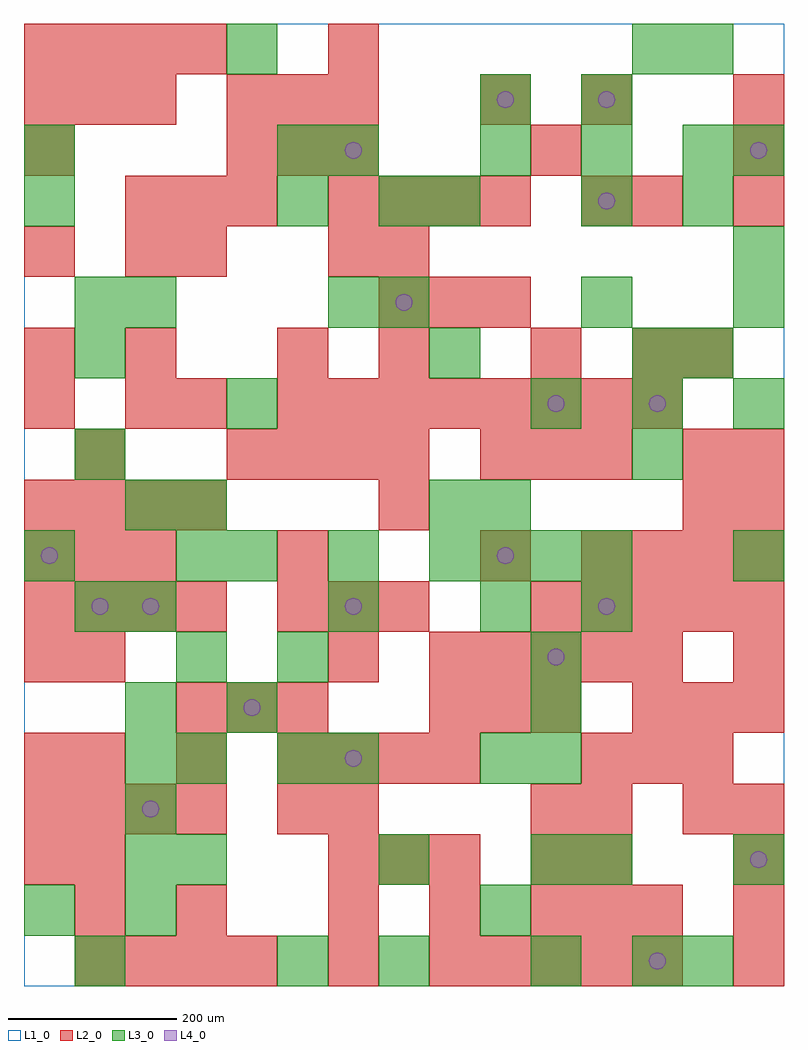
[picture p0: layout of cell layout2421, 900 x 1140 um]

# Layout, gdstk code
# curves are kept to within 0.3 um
import gdstk
lib = gdstk.Library(unit=1e-6, precision=1e-09)
def R(c, l, rs):  # rectangles x0, y0, x1, y1
    for r in rs: c.add(gdstk.rectangle(r[:2], r[2:], *l))
def A(c, l, x, y, w, h, nx, ny, dx, dy):  # array of equal rectangles
    R(c, l, [(x+i*dx, y+j*dy, x+i*dx+w, y+j*dy+h) for i in range(nx) for j in range(ny)])
def P(c, l, *ps):  # polygons
    for p in ps: c.add(gdstk.Polygon(p, *l))
L1_0 = (1, 0)
L2_0 = (2, 0)
L3_0 = (3, 0)
L4_0 = (4, 0)

layout2421 = lib.new_cell('layout2421')
R(layout2421, L1_0, [(0,0,900,1140)])
A(layout2421, L2_0, 60, 0, 60, 60, 4, 1, 60, 0)
A(layout2421, L2_0, 360, 0, 60, 60, 1, 3, 0, 180)
A(layout2421, L2_0, 480, 0, 60, 60, 5, 2, 60, 360)
A(layout2421, L2_0, 840, 0, 60, 60, 1, 4, 0, 60)
A(layout2421, L2_0, 360, 60, 60, 60, 3, 1, 120, 0)
A(layout2421, L2_0, 660, 60, 60, 60, 1, 3, 0, 60)
A(layout2421, L2_0, 0, 120, 60, 60, 1, 3, 0, 120)
A(layout2421, L2_0, 60, 120, 60, 60, 1, 3, 0, 240)
A(layout2421, L2_0, 360, 120, 60, 60, 3, 2, 60, 120)
A(layout2421, L2_0, 0, 180, 60, 60, 4, 2, 60, 240)
A(layout2421, L2_0, 60, 240, 60, 60, 3, 1, 120, 0)
A(layout2421, L2_0, 660, 240, 60, 60, 3, 1, 60, 0)
A(layout2421, L2_0, 180, 300, 60, 60, 3, 1, 60, 0)
A(layout2421, L2_0, 480, 300, 60, 60, 3, 1, 60, 0)
A(layout2421, L2_0, 720, 300, 60, 60, 3, 1, 60, 0)
A(layout2421, L2_0, 300, 420, 60, 60, 3, 1, 60, 0)
A(layout2421, L2_0, 600, 420, 60, 60, 5, 1, 60, 0)
A(layout2421, L2_0, 0, 480, 60, 60, 3, 2, 60, 540)
A(layout2421, L2_0, 660, 480, 60, 60, 4, 1, 60, 0)
A(layout2421, L2_0, 0, 540, 60, 60, 4, 2, 60, 540)
A(layout2421, L2_0, 240, 600, 60, 60, 4, 1, 60, 0)
A(layout2421, L2_0, 540, 600, 60, 60, 3, 1, 60, 0)
A(layout2421, L2_0, 300, 660, 60, 60, 8, 1, 60, 0)
A(layout2421, L2_0, 0, 720, 60, 60, 1, 3, 0, 120)
A(layout2421, L2_0, 420, 780, 60, 60, 3, 1, 60, 0)
A(layout2421, L2_0, 120, 900, 60, 60, 3, 1, 60, 0)
A(layout2421, L2_0, 360, 900, 60, 60, 4, 1, 60, 0)
A(layout2421, L2_0, 840, 900, 60, 60, 1, 3, 0, 60)
A(layout2421, L2_0, 240, 960, 60, 60, 3, 2, 60, 60)
R(layout2421, L2_0, [(60,60,120,120), (180,60,240,120), (720,60,780,120), (600,120,660,180), (300,180,360,240), (600,180,660,240), (780,180,840,240), (840,360,900,420), (300,480,360,540), (540,480,600,540), (420,540,480,600), (780,540,840,600), (840,540,900,600), (780,600,840,660), (840,600,900,660), (0,660,60,720), (120,660,180,720), (180,660,240,720), (120,720,180,780), (300,720,360,780), (420,720,480,780), (600,720,660,780), (720,720,780,780), (780,720,840,780), (120,840,180,900), (180,840,240,900), (360,840,420,900), (420,840,480,900), (660,900,720,960), (720,900,780,960), (600,960,660,1020), (540,1020,600,1080), (660,1020,720,1080), (360,1080,420,1140)])
A(layout2421, L3_0, 600, 0, 60, 60, 1, 3, 0, 120)
A(layout2421, L3_0, 0, 60, 60, 60, 1, 3, 0, 420)
A(layout2421, L3_0, 120, 60, 60, 60, 1, 5, 0, 60)
A(layout2421, L3_0, 540, 60, 60, 60, 1, 3, 0, 180)
A(layout2421, L3_0, 180, 120, 60, 60, 1, 4, 0, 120)
A(layout2421, L3_0, 240, 480, 60, 60, 3, 1, 120, 0)
A(layout2421, L3_0, 540, 480, 60, 60, 3, 1, 60, 0)
A(layout2421, L3_0, 480, 540, 60, 60, 1, 3, 0, 180)
A(layout2421, L3_0, 600, 660, 60, 60, 3, 1, 120, 0)
A(layout2421, L3_0, 780, 720, 60, 60, 1, 3, 0, 180)
A(layout2421, L3_0, 660, 780, 60, 60, 1, 3, 0, 120)
A(layout2421, L3_0, 540, 960, 60, 60, 3, 1, 120, 0)
R(layout2421, L3_0, [(60,0,120,60), (300,0,360,60), (420,0,480,60), (720,0,780,60), (780,0,840,60), (420,120,480,180), (660,120,720,180), (840,120,900,180), (300,240,360,300), (360,240,420,300), (240,300,300,360), (600,300,660,360), (300,360,360,420), (600,360,660,420), (60,420,120,480), (120,420,180,480), (360,420,420,480), (660,420,720,480), (840,480,900,540), (120,540,180,600), (180,540,240,600), (540,540,600,600), (60,600,120,660), (720,600,780,660), (240,660,300,720), (60,720,120,780), (720,720,780,780), (60,780,120,840), (120,780,180,840), (360,780,420,840), (420,780,480,840), (840,780,900,840), (840,840,900,900), (300,900,360,960), (420,900,480,960), (0,960,60,1020), (300,960,360,1020), (360,960,420,1020), (840,960,900,1020), (540,1020,600,1080), (240,1080,300,1140), (720,1080,780,1140)])
P(layout2421, L4_0, [(40,510),(39.239,513.827),(37.071,517.071),(33.827,519.239),(30,520),(26.173,519.239),(22.929,517.071),(20.761,513.827),(20,510),(20.761,506.173),(22.929,502.929),(26.173,500.761),(30,500),(33.827,500.761),(37.071,502.929),(39.239,506.173)],
  [(100,450),(99.239,453.827),(97.071,457.071),(93.827,459.239),(90,460),(86.173,459.239),(82.929,457.071),(80.761,453.827),(80,450),(80.761,446.173),(82.929,442.929),(86.173,440.761),(90,440),(93.827,440.761),(97.071,442.929),(99.239,446.173)],
  [(160,210),(159.239,213.827),(157.071,217.071),(153.827,219.239),(150,220),(146.173,219.239),(142.929,217.071),(140.761,213.827),(140,210),(140.761,206.173),(142.929,202.929),(146.173,200.761),(150,200),(153.827,200.761),(157.071,202.929),(159.239,206.173)],
  [(160,450),(159.239,453.827),(157.071,457.071),(153.827,459.239),(150,460),(146.173,459.239),(142.929,457.071),(140.761,453.827),(140,450),(140.761,446.173),(142.929,442.929),(146.173,440.761),(150,440),(153.827,440.761),(157.071,442.929),(159.239,446.173)],
  [(280,330),(279.239,333.827),(277.071,337.071),(273.827,339.239),(270,340),(266.173,339.239),(262.929,337.071),(260.761,333.827),(260,330),(260.761,326.173),(262.929,322.929),(266.173,320.761),(270,320),(273.827,320.761),(277.071,322.929),(279.239,326.173)],
  [(400,270),(399.239,273.827),(397.071,277.071),(393.827,279.239),(390,280),(386.173,279.239),(382.929,277.071),(380.761,273.827),(380,270),(380.761,266.173),(382.929,262.929),(386.173,260.761),(390,260),(393.827,260.761),(397.071,262.929),(399.239,266.173)],
  [(400,450),(399.239,453.827),(397.071,457.071),(393.827,459.239),(390,460),(386.173,459.239),(382.929,457.071),(380.761,453.827),(380,450),(380.761,446.173),(382.929,442.929),(386.173,440.761),(390,440),(393.827,440.761),(397.071,442.929),(399.239,446.173)],
  [(400,990),(399.239,993.827),(397.071,997.071),(393.827,999.239),(390,1000),(386.173,999.239),(382.929,997.071),(380.761,993.827),(380,990),(380.761,986.173),(382.929,982.929),(386.173,980.761),(390,980),(393.827,980.761),(397.071,982.929),(399.239,986.173)],
  [(460,810),(459.239,813.827),(457.071,817.071),(453.827,819.239),(450,820),(446.173,819.239),(442.929,817.071),(440.761,813.827),(440,810),(440.761,806.173),(442.929,802.929),(446.173,800.761),(450,800),(453.827,800.761),(457.071,802.929),(459.239,806.173)],
  [(580,510),(579.239,513.827),(577.071,517.071),(573.827,519.239),(570,520),(566.173,519.239),(562.929,517.071),(560.761,513.827),(560,510),(560.761,506.173),(562.929,502.929),(566.173,500.761),(570,500),(573.827,500.761),(577.071,502.929),(579.239,506.173)],
  [(580,1050),(579.239,1053.827),(577.071,1057.071),(573.827,1059.239),(570,1060),(566.173,1059.239),(562.929,1057.071),(560.761,1053.827),(560,1050),(560.761,1046.173),(562.929,1042.929),(566.173,1040.761),(570,1040),(573.827,1040.761),(577.071,1042.929),(579.239,1046.173)],
  [(640,390),(639.239,393.827),(637.071,397.071),(633.827,399.239),(630,400),(626.173,399.239),(622.929,397.071),(620.761,393.827),(620,390),(620.761,386.173),(622.929,382.929),(626.173,380.761),(630,380),(633.827,380.761),(637.071,382.929),(639.239,386.173)],
  [(640,690),(639.239,693.827),(637.071,697.071),(633.827,699.239),(630,700),(626.173,699.239),(622.929,697.071),(620.761,693.827),(620,690),(620.761,686.173),(622.929,682.929),(626.173,680.761),(630,680),(633.827,680.761),(637.071,682.929),(639.239,686.173)],
  [(700,450),(699.239,453.827),(697.071,457.071),(693.827,459.239),(690,460),(686.173,459.239),(682.929,457.071),(680.761,453.827),(680,450),(680.761,446.173),(682.929,442.929),(686.173,440.761),(690,440),(693.827,440.761),(697.071,442.929),(699.239,446.173)],
  [(700,930),(699.239,933.827),(697.071,937.071),(693.827,939.239),(690,940),(686.173,939.239),(682.929,937.071),(680.761,933.827),(680,930),(680.761,926.173),(682.929,922.929),(686.173,920.761),(690,920),(693.827,920.761),(697.071,922.929),(699.239,926.173)],
  [(700,1050),(699.239,1053.827),(697.071,1057.071),(693.827,1059.239),(690,1060),(686.173,1059.239),(682.929,1057.071),(680.761,1053.827),(680,1050),(680.761,1046.173),(682.929,1042.929),(686.173,1040.761),(690,1040),(693.827,1040.761),(697.071,1042.929),(699.239,1046.173)],
  [(760,30),(759.239,33.827),(757.071,37.071),(753.827,39.239),(750,40),(746.173,39.239),(742.929,37.071),(740.761,33.827),(740,30),(740.761,26.173),(742.929,22.929),(746.173,20.761),(750,20),(753.827,20.761),(757.071,22.929),(759.239,26.173)],
  [(760,690),(759.239,693.827),(757.071,697.071),(753.827,699.239),(750,700),(746.173,699.239),(742.929,697.071),(740.761,693.827),(740,690),(740.761,686.173),(742.929,682.929),(746.173,680.761),(750,680),(753.827,680.761),(757.071,682.929),(759.239,686.173)],
  [(880,150),(879.239,153.827),(877.071,157.071),(873.827,159.239),(870,160),(866.173,159.239),(862.929,157.071),(860.761,153.827),(860,150),(860.761,146.173),(862.929,142.929),(866.173,140.761),(870,140),(873.827,140.761),(877.071,142.929),(879.239,146.173)],
  [(880,990),(879.239,993.827),(877.071,997.071),(873.827,999.239),(870,1000),(866.173,999.239),(862.929,997.071),(860.761,993.827),(860,990),(860.761,986.173),(862.929,982.929),(866.173,980.761),(870,980),(873.827,980.761),(877.071,982.929),(879.239,986.173)])

lib.write_gds('layout2421.gds')
